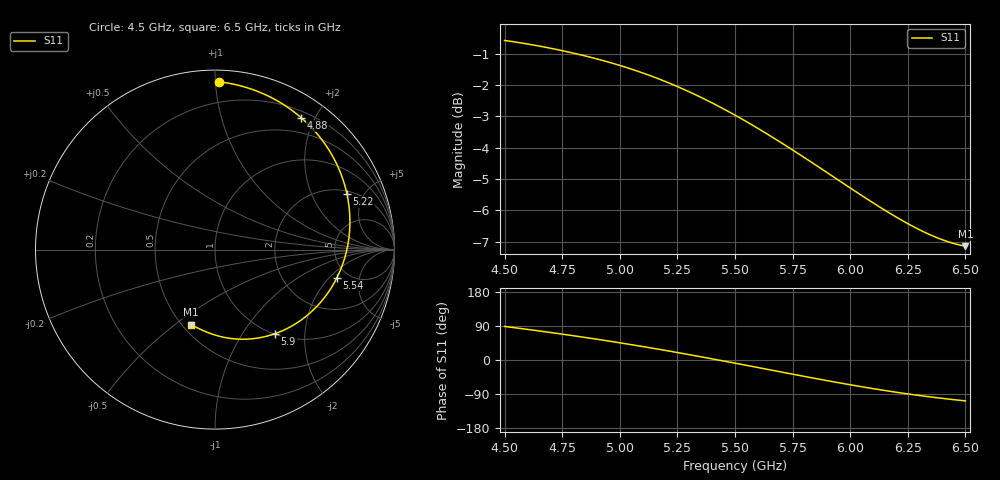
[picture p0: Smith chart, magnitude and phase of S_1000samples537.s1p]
! TOUCHSTONE file generated by CST MICROWAVE STUDIO
! Date and time: Fri Oct 28 12:23:56 2022
! Project name: L.cst
! Parameters = {Di=1.27; Epsilon_r=1.56; InnerDiameter=1.27; Length=2; Lf=10; Lg=60; OuterConductorThickness=0.2921; OuterDiameter=3.6; Wf=3; Wp=41.2; de=1.5; df=6.8; g=0.8; gx=1.63286; gy=3.47393; h=2.34; hf=1.524; px=10.4322; py=9.51243; w=9.7; wx=8.79935; wy=6.03851}
! Header version: 2018
! Port assignment regex: !\s*Touchstone port\s*([0-9]+)\s*=\s*(CST MWS port|CST DS port)\s*([0-9]+|Zmin|Zmax)\s*\(\"(.*)\"\)(\s*mode\s*([0-9]+))?.*
! Touchstone port assignment:
! Touchstone port 1 = CST MWS port 1 ("")
# GHz S DB R 50
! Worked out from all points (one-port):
!   101 points, 4.5 GHz to 6.5 GHz, reference 50 ohm
!   lowest |S11| = -7.1 dB at 6.5 GHz (marker M1), VSWR 2.57, Z = 27.6 - j28.6 ohm
!   |S11| at or under -10 dB: nowhere
!   S11 on the Smith chart (normalised r, x): 4.5 GHz: 0.07, +1.02; 4.88 GHz: 0.28, +1.82; 5.22 GHz: 2.18, +3.73; 5.54 GHz: 4.04, -2.46; 5.9 GHz: 1.01, -1.41; 6.5 GHz: 0.55, -0.57
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4.5  -0.58 88.6
4.58  -0.67 82.3
4.64  -0.75 77.5
4.7  -0.83 72.5
4.76  -0.93 67.4
4.82  -1.03 62.1
4.88  -1.13 56.7
4.94  -1.25 51.1
5  -1.38 45.4
5.06  -1.52 39.5
5.12  -1.67 33.4
5.22  -1.96 22.9
5.26  -2.09 18.6
5.32  -2.29 12.0
5.38  -2.50 5.3
5.44  -2.73 -1.4
5.5  -2.97 -8.3
5.54  -3.13 -13.0
5.6  -3.39 -19.9
5.66  -3.66 -26.9
5.76  -4.12 -38.5
5.82  -4.41 -45.4
5.9  -4.80 -54.5
6  -5.29 -65.3
6.12  -5.86 -77.6
6.26  -6.46 -90.3
6.38  -6.88 -99.8
6.5  -7.14 -107.9
